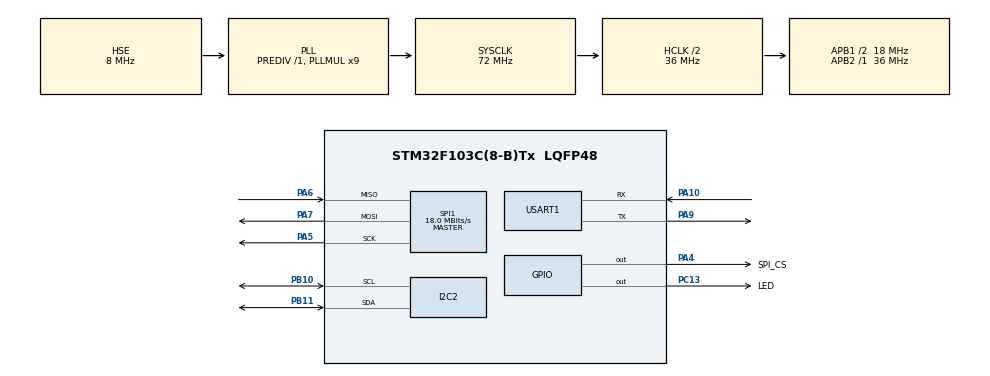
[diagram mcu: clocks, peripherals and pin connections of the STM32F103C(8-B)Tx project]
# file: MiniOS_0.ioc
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Mcu.Family=STM32F1
Mcu.Name=STM32F103C(8-B)Tx
Mcu.Package=LQFP48
NVIC.PriorityGroup=NVIC_PRIORITYGROUP_4
NVIC.USART1_IRQn=true\:0\:0\:false\:false\:true\:true\:true\:true
PA10.Mode=Asynchronous
PA10.Signal=USART1_RX
PA13.Mode=Serial_Wire
PA13.Signal=SYS_JTMS-SWDIO
PA14.Mode=Serial_Wire
PA14.Signal=SYS_JTCK-SWCLK
PA4.GPIO_Label=SPI_CS
PA4.GPIO_ModeDefaultOutputPP=GPIO_MODE_OUTPUT_OD
PA4.GPIO_PuPd=GPIO_NOPULL
PA4.PinState=GPIO_PIN_SET
PA4.Signal=GPIO_Output
PA5.Mode=Full_Duplex_Master
PA5.Signal=SPI1_SCK
PA6.Mode=Full_Duplex_Master
PA6.Signal=SPI1_MISO
PA7.Mode=Full_Duplex_Master
PA7.Signal=SPI1_MOSI
PA9.Mode=Asynchronous
PA9.Signal=USART1_TX
PB10.Mode=I2C
PB10.Signal=I2C2_SCL
PB11.Mode=I2C
PB11.Signal=I2C2_SDA
PC13-TAMPER-RTC.GPIO_Label=LED
PC13-TAMPER-RTC.GPIO_ModeDefaultOutputPP=GPIO_MODE_OUTPUT_OD
PC13-TAMPER-RTC.GPIO_PuPd=GPIO_NOPULL
PC13-TAMPER-RTC.PinState=GPIO_PIN_SET
PC13-TAMPER-RTC.Signal=GPIO_Output
PD0-OSC_IN.Mode=HSE-External-Oscillator
PD0-OSC_IN.Signal=RCC_OSC_IN
PD1-OSC_OUT.Mode=HSE-External-Oscillator
PD1-OSC_OUT.Signal=RCC_OSC_OUT
ProjectManager.HeapSize=0x200
ProjectManager.StackSize=0x400
ProjectManager.TargetToolchain=STM32CubeIDE
RCC.AHBCLKDivider=RCC_SYSCLK_DIV2
RCC.AHBFreq_Value=36000000
RCC.APB1CLKDivider=RCC_HCLK_DIV2
RCC.APB1Freq_Value=18000000
RCC.APB1TimFreq_Value=36000000
RCC.APB2Freq_Value=36000000
RCC.APB2TimFreq_Value=36000000
RCC.HCLKFreq_Value=36000000
RCC.PLLMUL=RCC_PLL_MUL9
RCC.PLLSourceVirtual=RCC_PLLSOURCE_HSE
RCC.SYSCLKFreq_VALUE=72000000
RCC.SYSCLKSource=RCC_SYSCLKSOURCE_PLLCLK
RCC.USBFreq_Value=72000000
SPI1.CalculateBaudRate=18.0 MBits/s
SPI1.Direction=SPI_DIRECTION_2LINES
SPI1.Mode=SPI_MODE_MASTER
SPI1.VirtualType=VM_MASTER
USART1.VirtualMode=VM_ASYNC
board=custom

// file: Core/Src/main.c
/* USER CODE BEGIN Header */
/**
  ******************************************************************************
  * @file           : main.c
  * @brief          : Main program body
  ******************************************************************************
  * @attention
  *
  * Copyright (c) 2025 STMicroelectronics.
  * All rights reserved.
  *
  * This software is licensed under terms that can be found in the LICENSE file
  * in the root directory of this software component.
  * If no LICENSE file comes with this software, it is provided AS-IS.
  *
  ******************************************************************************
  */
/* USER CODE END Header */
#include "main.h"

/* USER CODE BEGIN Includes */
#include <stdio.h>
#include <string.h>
#include "W25Q32.h"
/* USER CODE END Includes */

/* USER CODE BEGIN PTD */
typedef struct{
	void (*taskFunction)(void);
	uint16_t period;
	uint32_t nextExec;
	uint8_t functionEnabled;
}tasks_struct;

typedef struct{
	uint32_t timestamp;
	float accel_log[3], gyro_log[3], temperature_log;
	uint32_t scaled_pressure_log;
	int32_t scaled_temp_log;
}data_logging_format;

data_logging_format logger;

/* USER CODE END PTD */

/* USER CODE BEGIN PD */
#define TASK_COUNT 6
#define MPU_ADDRESS (0x68<<1)
#define MPU_REG_ADDRESS 0x3B
#define BMP_ADDRESS (0x76<<1)
#define BMP_CALIB_REG_ADDRESS 0x88

#define LOG_BUFFER_SIZE 2048
#define SECTOR_SIZE 4096
#define SECTORS_IN_USE 100 //We are not using all sectors
/* USER CODE END PD */

I2C_HandleTypeDef hi2c2;

SPI_HandleTypeDef hspi1;

UART_HandleTypeDef huart1;

/* USER CODE BEGIN PV */
uint32_t now;
int32_t t_fine;

uint8_t logDataBuffer[LOG_BUFFER_SIZE];
uint32_t currentSector=0x100000; //Starting from 256th sector so that the first 1MB of space is reserved in flash.
uint16_t loggingIndex=0;

static volatile uint8_t i2c_busy = 0;
/* USER CODE END PV */

void SystemClock_Config(void);
static void MX_GPIO_Init(void);
static void MX_USART1_UART_Init(void);
static void MX_I2C2_Init(void);
static void MX_SPI1_Init(void);

/* USER CODE BEGIN 0 */
UART_buffer buf1={0};	//buf1 is a UART_Buffer structure defined in main.h file. Same for all structures below.
mpu_raw_result_struct mpu_raw={0};
mpu_scaled_result_struct mpu_scaled={0};
bmp_calib_struct bmp_calib_data={0};
bmp_raw_struct bmp_raw={0};
bmp_scaled_struct bmp_scaled={0};

void USART1_IRQHandler(){
	if(huart1.Instance->SR & USART_SR_TXE){
		if(buf1.tail!=buf1.head){
			huart1.Instance->DR=buf1.charBuffer[buf1.tail];
			buf1.tail=(buf1.tail+1)%UART_BUFFER_SIZE;
		}
		else{
			__HAL_UART_DISABLE_IT(&huart1, UART_IT_TXE);
		}
	}
}

int _write(int fd, char *ptr, int len) {
	  //This is blocking
//    HAL_StatusTypeDef hstatus;
//
//    if (fd == 1 || fd == 2) {
//      hstatus = HAL_UART_Transmit(&huart1, (uint8_t *) ptr, len, HAL_MAX_DELAY);
//      if (hstatus == HAL_OK)
//        return len;
//      else
//        return -1;
//    }
//    return -1;

	//This is non blocking

	if(fd!=1 && fd!=2) return -1;

	for(int i=0;i<len;i++){
		uint16_t next=(buf1.head+1)%UART_BUFFER_SIZE;

		if(next==buf1.tail) return -1;

		buf1.charBuffer[buf1.head]=ptr[i];
		buf1.head=next;
	}

	__HAL_UART_ENABLE_IT(&huart1, UART_IT_TXE);

	return len;
}

void mpu_init(){
	uint8_t initData = 0x00;
	HAL_StatusTypeDef ret;

	ret=HAL_I2C_Mem_Write(&hi2c2, MPU_ADDRESS, 0x6B, I2C_MEMADD_SIZE_8BIT, &initData, 1, 10);

	printf("MPU initialization status: %d\r\n", ret);
}

void mpu_read(mpu_raw_result_struct *mpu){
	uint8_t raw_Values[14]={0};

	while (HAL_I2C_GetState(&hi2c2) != HAL_I2C_STATE_READY);

	if(HAL_I2C_Mem_Read(&hi2c2, MPU_ADDRESS, MPU_REG_ADDRESS, I2C_MEMADD_SIZE_8BIT, raw_Values, 14, 10)!=HAL_OK){
	    __HAL_RCC_I2C2_FORCE_RESET();
	    __HAL_RCC_I2C2_RELEASE_RESET();
	    HAL_I2C_Init(&hi2c2);
	    return;
	}

	mpu->accel[0]= (raw_Values[0]<<8) | raw_Values[1];
	mpu->accel[1]= (raw_Values[2]<<8) | raw_Values[3];
	mpu->accel[2]= (raw_Values[4]<<8) | raw_Values[5];

	mpu->temperature= (raw_Values[6]<<8) | raw_Values[7];

	mpu->gyro[0]= (raw_Values[8]<<8) | raw_Values[9];
	mpu->gyro[1]= (raw_Values[10]<<8) | raw_Values[11];
	mpu->gyro[2]= (raw_Values[12]<<8) | raw_Values[13];
}

void mpu_scaling(mpu_raw_result_struct *raw, mpu_scaled_result_struct *scaled){

	scaled->accel[0] = raw->accel[0] / 16384.0f;
	scaled->accel[1] = raw->accel[1] / 16384.0f;
	scaled->accel[2] = raw->accel[2] / 16384.0f;

	scaled->temperature = (raw->temperature / 340.0f) + 36.53f;

	scaled->gyro[0] = raw->gyro[0] / 131.0f;
	scaled->gyro[1] = raw->gyro[1] / 131.0f;
	scaled->gyro[2] = raw->gyro[2] / 131.0f;
}

void bmp_init(){
	uint8_t reset = 0xB6;
	    HAL_I2C_Mem_Write(&hi2c2, BMP_ADDRESS, 0xE0, I2C_MEMADD_SIZE_8BIT, &reset, 1, 100); //Soft reset

	    HAL_Delay(5);

	    uint8_t ctrl_meas = 0x27;
	    HAL_I2C_Mem_Write(&hi2c2, BMP_ADDRESS, 0xF4, I2C_MEMADD_SIZE_8BIT, &ctrl_meas, 1, 100); //Minimal over-sampling and normal mode.

	    uint8_t config = 0x20;
		HAL_I2C_Mem_Write(&hi2c2, BMP_ADDRESS, 0xF5, I2C_MEMADD_SIZE_8BIT, &config, 1, 100); //standby time setup, IIR filter off, SPI disabled.

}

void bmp_read_calib_data(bmp_calib_struct *bmp){
	    uint8_t rawValues[24];

	    uint8_t status;
	    uint32_t timeout = uwTick + 20;

	    do {
	        HAL_I2C_Mem_Read(&hi2c2, BMP_ADDRESS, 0xF3, I2C_MEMADD_SIZE_8BIT, &status, 1, 100);
	    } while ((status & 0x01) && uwTick < timeout);

	    HAL_I2C_Mem_Read(&hi2c2, BMP_ADDRESS, 0x88, I2C_MEMADD_SIZE_8BIT, rawValues, 24, 100);

	    bmp->dig_T1 = (rawValues[1] << 8) | rawValues[0];
	    bmp->dig_T2 = (rawValues[3] << 8) | rawValues[2];
	    bmp->dig_T3 = (rawValues[5] << 8) | rawValues[4];
	    bmp->dig_P1 = (rawValues[7] << 8) | rawValues[6];
	    bmp->dig_P2 = (rawValues[9] << 8) | rawValues[8];
	    bmp->dig_P3 = (rawValues[11]<<8) | rawValues[10];
	    bmp->dig_P4 = (rawValues[13]<<8) | rawValues[12];
	    bmp->dig_P5 = (rawValues[15]<<8) | rawValues[14];
	    bmp->dig_P6 = (rawValues[17]<<8) | rawValues[16];
	    bmp->dig_P7 = (rawValues[19]<<8) | rawValues[18];
	    bmp->dig_P8 = (rawValues[21]<<8) | rawValues[20];
	    bmp->dig_P9 = (rawValues[23]<<8) | rawValues[22];
}

void bmp_raw_read(bmp_raw_struct *bmp){
	uint8_t rawValues[6];

//	uint8_t status;
//
//	do{
//		HAL_I2C_Mem_Read(&hi2c2, BMP_ADDRESS, 0xF3, I2C_MEMADD_SIZE_8BIT, &status, 1, 100);
//	}while(status & 0x08);

	while (HAL_I2C_GetState(&hi2c2) != HAL_I2C_STATE_READY);

	if(HAL_I2C_Mem_Read(&hi2c2, BMP_ADDRESS, 0xF7, I2C_MEMADD_SIZE_8BIT, rawValues, 6, 100)!=HAL_OK){
	    __HAL_RCC_I2C2_FORCE_RESET();
	    __HAL_RCC_I2C2_RELEASE_RESET();
	    HAL_I2C_Init(&hi2c2);
	    return;
	}

	bmp->raw_pressure=(rawValues[0]<<12) | (rawValues[1]<<4) | (rawValues[2]>>4);
	bmp->raw_temp=(rawValues[3]<<12) | (rawValues[4]<<4) | (rawValues[5]>>4);
}

void bmp_scaling(bmp_calib_struct *bmpCalib, bmp_raw_struct *bmpRaw, bmp_scaled_struct *bmpScaled)
{
    // Temperature compensation
    int32_t Var1, Var2;

    Var1 = ((((bmpRaw->raw_temp >> 3) - ((int32_t)bmpCalib->dig_T1 << 1)) *
             (int32_t)bmpCalib->dig_T2) >> 11);

    Var2 = (((((bmpRaw->raw_temp >> 4) - ((int32_t)bmpCalib->dig_T1)) *
              ((bmpRaw->raw_temp >> 4) - ((int32_t)bmpCalib->dig_T1))) >> 12) *
            (int32_t)bmpCalib->dig_T3) >> 14;

    t_fine = Var1 + Var2;
    bmpScaled->scaled_temp = (t_fine * 5 + 128) >> 8;

    // Pressure compensation
    int64_t var1, var2, p;

    var1 = (int64_t)((t_fine - 128000) >> 0);
    var2 = var1 * var1 * (int64_t)bmpCalib->dig_P6;
    var2 = var2 + ((var1 * (int64_t)bmpCalib->dig_P5) << 17);
    var2 = var2 + ((int64_t)bmpCalib->dig_P4 << 35);

    var1 = ((var1 * var1 * (int64_t)bmpCalib->dig_P3) >> 8) +
           ((var1 * (int64_t)bmpCalib->dig_P2) << 12);
    var1 = (((((int64_t)1) << 47) + var1)) * ((int64_t)bmpCalib->dig_P1) >> 33;

    if (var1 == 0) {
        bmpScaled->scaled_pressure = 0;
        return;
    }

    p = 1048576LL - bmpRaw->raw_pressure;
    p = (((p << 31) - var2) * 3125LL) / var1;

    var1 = (((int64_t)bmpCalib->dig_P9) * (p >> 13) * (p >> 13)) >> 25;
    var2 = (((int64_t)bmpCalib->dig_P8) * p) >> 19;

    p = ((p + var1 + var2) >> 8) + (((int64_t)bmpCalib->dig_P7) << 4);
    bmpScaled->scaled_pressure = (uint32_t)p>>8;
}

void toggle(){
	static uint8_t ledState=0;

	if(ledState)
		GPIOC->BSRR=(1<<13);
	else
		GPIOC->BSRR=(1<<(13+16));

	ledState^=1;
}

void displayCurrentState(mpu_scaled_result_struct *mpu, bmp_raw_struct *bmp_raw, bmp_scaled_struct *bmp_scaled){
	printf("Current time:%lu ms\r\n", uwTick);

	printf("ACC: %.3f %.3f %.3f, GYRO: %.2f %.2f %.2f, TEMP: %.2f\r\n",
			mpu->accel[0], mpu->accel[1], mpu->accel[2], mpu->gyro[0], mpu->gyro[1], mpu->gyro[2], mpu->temperature);

    printf("Raw pressure: %lu, Raw temperature: %lu\r\n", bmp_raw->raw_pressure, bmp_raw->raw_temp);
    printf("Pressure: %lu, Temperature: %ld\r\n", bmp_scaled->scaled_pressure, bmp_scaled->scaled_temp);
}

void flushBuffer(){
	W25Q32_SectorErase(currentSector);
	W25Q32_Write(currentSector,(uint8_t *) &logger, loggingIndex);

	currentSector += SECTOR_SIZE;

	if(currentSector>SECTORS_IN_USE*SECTOR_SIZE){
		currentSector=0x100000;
	}
}

void log_data(mpu_scaled_result_struct *scaled, bmp_scaled_struct *bmp_scaled){
	if(loggingIndex+sizeof(logger)>LOG_BUFFER_SIZE){
		flushBuffer();
	}

	logger.accel_log[0]=scaled->accel[0];
	logger.accel_log[1]=scaled->accel[1];
	logger.accel_log[2]=scaled->accel[2];

	logger.gyro_log[0]=scaled->gyro[0];
	logger.gyro_log[1]=scaled->gyro[1];
	logger.gyro_log[2]=scaled->gyro[2];

	logger.temperature_log=scaled->temperature;

	logger.scaled_pressure_log=bmp_scaled->scaled_pressure;
	logger.scaled_temp_log=bmp_scaled->scaled_temp;

	logger.timestamp=uwTick;

	memcpy(&logDataBuffer[loggingIndex], &logger, sizeof(logger));
	loggingIndex+=sizeof(logger);
}

void I2C_Lock(void)
{
    while (i2c_busy);
    i2c_busy = 1;
}

void I2C_Unlock(void)
{
    i2c_busy = 0;
}

void call_mpu(){
	I2C_Lock();
	mpu_read(&mpu_raw);
	I2C_Unlock();

	mpu_scaling(&mpu_raw, &mpu_scaled);
}

void call_bmp_raw(){
	I2C_Lock();
	bmp_raw_read(&bmp_raw);
	I2C_Unlock();
}

void call_bmp_scaling(){
	bmp_scaling(&bmp_calib_data, &bmp_raw, &bmp_scaled);
}

void call_displayCurrentState(){
	displayCurrentState(&mpu_scaled, &bmp_raw, &bmp_scaled);
}

void call_toggle(){
	toggle();
}

void call_logger(){
	log_data(&mpu_scaled, &bmp_scaled);
}

tasks_struct tasks[]={
		{call_mpu, 50, 50, 1},
		{call_bmp_raw, 200, 200, 1},
		{call_bmp_scaling, 1000, 900, 1},
		{call_displayCurrentState, 500, 500, 1},
		{call_toggle, 1000, 1000, 1},
		{call_logger, 1000, 1000, 1}
};

void cooperativeScheduler(){
	now=uwTick;

	for(int i=0;i<TASK_COUNT;i++){
		if(tasks[i].functionEnabled==1 && now>=tasks[i].nextExec){
			tasks[i].nextExec+=tasks[i].period;
			tasks[i].taskFunction();
		}
	}
}

//void i2c_scan() {
//    printf("Scanning I2C...\r\n");
//    for(uint8_t addr=1; addr<127; addr++) {
//        if(HAL_I2C_IsDeviceReady(&hi2c2, (addr<<1), 1, 10) == HAL_OK) {
//            printf("Found: 0x%02X\r\n", addr);
//        }
//    }
//}

/* USER CODE END 0 */

int main(void)
{

  /* MCU Configuration--------------------------------------------------------*/

  /* Reset of all peripherals, Initializes the Flash interface and the Systick. */
  HAL_Init();

  /* Configure the system clock */
  SystemClock_Config();

  /* Initialize all configured peripherals */
  MX_GPIO_Init();
  MX_USART1_UART_Init();
  MX_I2C2_Init();
  MX_SPI1_Init();
  /* USER CODE BEGIN 2 */
  printf("-------Start------\r\n");

//  uint32_t now=0, nextToggle=1000, nextUART=500, nextI2C=50;

  HAL_Delay(1000);
  mpu_init();
  bmp_init();

  W25Q32_init();

  //Winbond Flash ID check
  uint32_t flashID;
  flashID=W25Q32_ReadID();
  W25_DBG("Flash JEDEC ID= %#lX\r\n\n\n", flashID);

  //i2c_scan();

//  HAL_StatusTypeDef s;
//  uint8_t id = 0xFF;
//
//  __HAL_RCC_I2C2_FORCE_RESET();
//  __HAL_RCC_I2C2_RELEASE_RESET();
//  HAL_I2C_Init(&hi2c2);
//  HAL_Delay(5);
//
//  s = HAL_I2C_Mem_Read(&hi2c2, BMP_ADDRESS, 0xD0,
//                       I2C_MEMADD_SIZE_8BIT, &id, 1, 200);
//
//  printf("BMP probe: status=%d id=0x%02X\r\n", s, id);

  bmp_read_calib_data(&bmp_calib_data);

  printf("Calibration values of BMP280-> T1=%u, P1=%u, P2=%d.......\r\n", bmp_calib_data.dig_T1, bmp_calib_data.dig_P1, bmp_calib_data.dig_P2);

  /* USER CODE END 2 */

  /* Infinite loop */
  /* USER CODE BEGIN WHILE */
  while (1)
  {
	  cooperativeScheduler();
//	  now=uwTick;
//
//	  if(now>=nextToggle){
//		  nextToggle+=1000;
//		  toggle();
//	  }
//
//	  if(now>=nextUART){
//		  nextUART+=500;
//		  displayCurrentState(&mpu_scaled);
//	  }
//
//	  if(now>nextI2C){
//		  nextI2C+=50;
//		  mpu_read(&mpu_raw);
//		  mpu_scaling(&mpu_raw, &mpu_scaled);
	  }

    /* USER CODE END WHILE */

}

void SystemClock_Config(void)
{
  RCC_OscInitTypeDef RCC_OscInitStruct = {0};
  RCC_ClkInitTypeDef RCC_ClkInitStruct = {0};

  /** Initializes the RCC Oscillators according to the specified parameters
  * in the RCC_OscInitTypeDef structure.
  */
  RCC_OscInitStruct.OscillatorType = RCC_OSCILLATORTYPE_HSE;
  RCC_OscInitStruct.HSEState = RCC_HSE_ON;
  RCC_OscInitStruct.HSEPredivValue = RCC_HSE_PREDIV_DIV1;
  RCC_OscInitStruct.HSIState = RCC_HSI_ON;
  RCC_OscInitStruct.PLL.PLLState = RCC_PLL_ON;
  RCC_OscInitStruct.PLL.PLLSource = RCC_PLLSOURCE_HSE;
  RCC_OscInitStruct.PLL.PLLMUL = RCC_PLL_MUL9;
  if (HAL_RCC_OscConfig(&RCC_OscInitStruct) != HAL_OK)
  {
    Error_Handler();
  }

  /** Initializes the CPU, AHB and APB buses clocks
  */
  RCC_ClkInitStruct.ClockType = RCC_CLOCKTYPE_HCLK|RCC_CLOCKTYPE_SYSCLK
                              |RCC_CLOCKTYPE_PCLK1|RCC_CLOCKTYPE_PCLK2;
  RCC_ClkInitStruct.SYSCLKSource = RCC_SYSCLKSOURCE_PLLCLK;
  RCC_ClkInitStruct.AHBCLKDivider = RCC_SYSCLK_DIV2;
  RCC_ClkInitStruct.APB1CLKDivider = RCC_HCLK_DIV2;
  RCC_ClkInitStruct.APB2CLKDivider = RCC_HCLK_DIV1;

  if (HAL_RCC_ClockConfig(&RCC_ClkInitStruct, FLASH_LATENCY_2) != HAL_OK)
  {
    Error_Handler();
  }
}

static void MX_I2C2_Init(void)
{

  hi2c2.Instance = I2C2;
  hi2c2.Init.ClockSpeed = 100000;
  hi2c2.Init.DutyCycle = I2C_DUTYCYCLE_2;
  hi2c2.Init.OwnAddress1 = 0;
  hi2c2.Init.AddressingMode = I2C_ADDRESSINGMODE_7BIT;
  hi2c2.Init.DualAddressMode = I2C_DUALADDRESS_DISABLE;
  hi2c2.Init.OwnAddress2 = 0;
  hi2c2.Init.GeneralCallMode = I2C_GENERALCALL_DISABLE;
  hi2c2.Init.NoStretchMode = I2C_NOSTRETCH_DISABLE;
  if (HAL_I2C_Init(&hi2c2) != HAL_OK)
  {
    Error_Handler();
  }

}

static void MX_SPI1_Init(void)
{

  /* SPI1 parameter configuration*/
  hspi1.Instance = SPI1;
  hspi1.Init.Mode = SPI_MODE_MASTER;
  hspi1.Init.Direction = SPI_DIRECTION_2LINES;
  hspi1.Init.DataSize = SPI_DATASIZE_8BIT;
  hspi1.Init.CLKPolarity = SPI_POLARITY_LOW;
  hspi1.Init.CLKPhase = SPI_PHASE_1EDGE;
  hspi1.Init.NSS = SPI_NSS_SOFT;
  hspi1.Init.BaudRatePrescaler = SPI_BAUDRATEPRESCALER_2;
  hspi1.Init.FirstBit = SPI_FIRSTBIT_MSB;
  hspi1.Init.TIMode = SPI_TIMODE_DISABLE;
  hspi1.Init.CRCCalculation = SPI_CRCCALCULATION_DISABLE;
  hspi1.Init.CRCPolynomial = 10;
  if (HAL_SPI_Init(&hspi1) != HAL_OK)
  {
    Error_Handler();
  }

}

static void MX_USART1_UART_Init(void)
{

  huart1.Instance = USART1;
  huart1.Init.BaudRate = 115200;
  huart1.Init.WordLength = UART_WORDLENGTH_8B;
  huart1.Init.StopBits = UART_STOPBITS_1;
  huart1.Init.Parity = UART_PARITY_NONE;
  huart1.Init.Mode = UART_MODE_TX_RX;
  huart1.Init.HwFlowCtl = UART_HWCONTROL_NONE;
  huart1.Init.OverSampling = UART_OVERSAMPLING_16;
  if (HAL_UART_Init(&huart1) != HAL_OK)
  {
    Error_Handler();
  }

}

static void MX_GPIO_Init(void)
{
  GPIO_InitTypeDef GPIO_InitStruct = {0};

  /* GPIO Ports Clock Enable */
  __HAL_RCC_GPIOC_CLK_ENABLE();
  __HAL_RCC_GPIOD_CLK_ENABLE();
  __HAL_RCC_GPIOA_CLK_ENABLE();
  __HAL_RCC_GPIOB_CLK_ENABLE();

  /*Configure GPIO pin Output Level */
  HAL_GPIO_WritePin(LED_GPIO_Port, LED_Pin, GPIO_PIN_SET);

  /*Configure GPIO pin Output Level */
  HAL_GPIO_WritePin(SPI_CS_GPIO_Port, SPI_CS_Pin, GPIO_PIN_SET);

  /*Configure GPIO pin : LED_Pin */
  GPIO_InitStruct.Pin = LED_Pin;
  GPIO_InitStruct.Mode = GPIO_MODE_OUTPUT_OD;
  GPIO_InitStruct.Pull = GPIO_NOPULL;
  GPIO_InitStruct.Speed = GPIO_SPEED_FREQ_LOW;
  HAL_GPIO_Init(LED_GPIO_Port, &GPIO_InitStruct);

  /*Configure GPIO pin : SPI_CS_Pin */
  GPIO_InitStruct.Pin = SPI_CS_Pin;
  GPIO_InitStruct.Mode = GPIO_MODE_OUTPUT_OD;
  GPIO_InitStruct.Pull = GPIO_NOPULL;
  GPIO_InitStruct.Speed = GPIO_SPEED_FREQ_LOW;
  HAL_GPIO_Init(SPI_CS_GPIO_Port, &GPIO_InitStruct);

}

void Error_Handler(void)
{
  __disable_irq();
  while (1)
  {
  }
}
